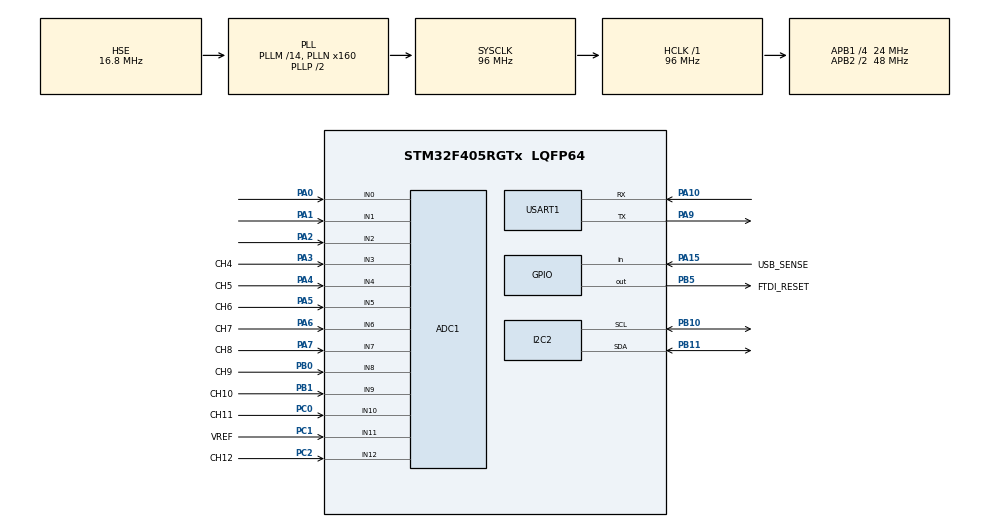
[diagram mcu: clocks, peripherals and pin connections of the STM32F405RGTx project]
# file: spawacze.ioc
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ADC1.Channel-0\#ChannelRegularConversion=ADC_CHANNEL_0
ADC1.ClockPrescaler=ADC_CLOCK_SYNC_PCLK_DIV6
ADC1.DMAAccessMode=ADC_DMAACCESSMODE_2
ADC1.Mode=ADC_DUALMODE_REGSIMULT
ADC1.NbrOfConversion=1
ADC1.NbrOfConversionFlag=1
ADC1.Rank-0\#ChannelRegularConversion=1
ADC1.SamplingTime-0\#ChannelRegularConversion=ADC_SAMPLETIME_3CYCLES
ADC1.ScanConvMode=ENABLE
ADC1.master=1
ADC2.Channel-1\#ChannelRegularConversion=ADC_CHANNEL_0
ADC2.ClockPrescaler=ADC_CLOCK_SYNC_PCLK_DIV6
ADC2.DMAAccessMode=ADC_DMAACCESSMODE_2
ADC2.Mode=ADC_DUALMODE_REGSIMULT
ADC2.NbrOfConversionFlag=1
ADC2.Rank-1\#ChannelRegularConversion=1
ADC2.SamplingTime-1\#ChannelRegularConversion=ADC_SAMPLETIME_3CYCLES
ADC2.ScanConvMode=ENABLE
Dma.ADC1.4.Direction=DMA_PERIPH_TO_MEMORY
Dma.ADC1.4.FIFOMode=DMA_FIFOMODE_DISABLE
Dma.ADC1.4.Instance=DMA2_Stream0
Dma.ADC1.4.MemDataAlignment=DMA_MDATAALIGN_HALFWORD
Dma.ADC1.4.MemInc=DMA_MINC_ENABLE
Dma.ADC1.4.Mode=DMA_NORMAL
Dma.ADC1.4.PeriphDataAlignment=DMA_PDATAALIGN_HALFWORD
Dma.ADC1.4.PeriphInc=DMA_PINC_DISABLE
Dma.ADC1.4.Priority=DMA_PRIORITY_LOW
Dma.ADC2.5.Direction=DMA_PERIPH_TO_MEMORY
Dma.ADC2.5.FIFOMode=DMA_FIFOMODE_DISABLE
Dma.ADC2.5.Instance=DMA2_Stream3
Dma.ADC2.5.MemDataAlignment=DMA_MDATAALIGN_HALFWORD
Dma.ADC2.5.MemInc=DMA_MINC_ENABLE
Dma.ADC2.5.Mode=DMA_NORMAL
Dma.ADC2.5.PeriphDataAlignment=DMA_PDATAALIGN_HALFWORD
Dma.ADC2.5.PeriphInc=DMA_PINC_DISABLE
Dma.ADC2.5.Priority=DMA_PRIORITY_LOW
Dma.I2C2_RX.0.Direction=DMA_PERIPH_TO_MEMORY
Dma.I2C2_RX.0.FIFOMode=DMA_FIFOMODE_DISABLE
Dma.I2C2_RX.0.Instance=DMA1_Stream2
Dma.I2C2_RX.0.MemDataAlignment=DMA_MDATAALIGN_BYTE
Dma.I2C2_RX.0.MemInc=DMA_MINC_ENABLE
Dma.I2C2_RX.0.Mode=DMA_NORMAL
Dma.I2C2_RX.0.PeriphDataAlignment=DMA_PDATAALIGN_BYTE
Dma.I2C2_RX.0.PeriphInc=DMA_PINC_DISABLE
Dma.I2C2_RX.0.Priority=DMA_PRIORITY_LOW
Dma.I2C2_TX.1.Direction=DMA_MEMORY_TO_PERIPH
Dma.I2C2_TX.1.FIFOMode=DMA_FIFOMODE_DISABLE
Dma.I2C2_TX.1.Instance=DMA1_Stream7
Dma.I2C2_TX.1.MemDataAlignment=DMA_MDATAALIGN_BYTE
Dma.I2C2_TX.1.MemInc=DMA_MINC_ENABLE
Dma.I2C2_TX.1.Mode=DMA_NORMAL
Dma.I2C2_TX.1.PeriphDataAlignment=DMA_PDATAALIGN_BYTE
Dma.I2C2_TX.1.PeriphInc=DMA_PINC_DISABLE
Dma.I2C2_TX.1.Priority=DMA_PRIORITY_LOW
Dma.Request0=I2C2_RX
Dma.Request1=I2C2_TX
Dma.Request2=USART1_RX
Dma.Request3=USART1_TX
Dma.Request4=ADC1
Dma.Request5=ADC2
Dma.USART1_RX.2.Direction=DMA_PERIPH_TO_MEMORY
Dma.USART1_RX.2.FIFOMode=DMA_FIFOMODE_DISABLE
Dma.USART1_RX.2.Instance=DMA2_Stream2
Dma.USART1_RX.2.MemDataAlignment=DMA_MDATAALIGN_BYTE
Dma.USART1_RX.2.MemInc=DMA_MINC_ENABLE
Dma.USART1_RX.2.Mode=DMA_NORMAL
Dma.USART1_RX.2.PeriphDataAlignment=DMA_PDATAALIGN_BYTE
Dma.USART1_RX.2.PeriphInc=DMA_PINC_DISABLE
Dma.USART1_RX.2.Priority=DMA_PRIORITY_MEDIUM
Dma.USART1_TX.3.Direction=DMA_MEMORY_TO_PERIPH
Dma.USART1_TX.3.FIFOMode=DMA_FIFOMODE_DISABLE
Dma.USART1_TX.3.Instance=DMA2_Stream7
Dma.USART1_TX.3.MemDataAlignment=DMA_MDATAALIGN_BYTE
Dma.USART1_TX.3.MemInc=DMA_MINC_ENABLE
Dma.USART1_TX.3.Mode=DMA_NORMAL
Dma.USART1_TX.3.PeriphDataAlignment=DMA_PDATAALIGN_BYTE
Dma.USART1_TX.3.PeriphInc=DMA_PINC_DISABLE
Dma.USART1_TX.3.Priority=DMA_PRIORITY_MEDIUM
Mcu.Family=STM32F4
Mcu.Name=STM32F405RGTx
Mcu.Package=LQFP64
NVIC.ADC_IRQn=true\:0\:0\:false\:false\:true\:true\:true
NVIC.DMA1_Stream2_IRQn=true\:0\:0\:false\:false\:true\:false\:true
NVIC.DMA1_Stream7_IRQn=true\:0\:0\:false\:false\:true\:false\:true
NVIC.DMA2_Stream0_IRQn=true\:0\:0\:false\:false\:true\:false\:true
NVIC.DMA2_Stream2_IRQn=true\:0\:0\:false\:false\:true\:false\:true
NVIC.DMA2_Stream3_IRQn=true\:0\:0\:false\:false\:true\:false\:true
NVIC.DMA2_Stream7_IRQn=true\:0\:0\:false\:false\:true\:false\:true
NVIC.I2C2_EV_IRQn=true\:0\:0\:false\:false\:true\:true\:true
NVIC.PriorityGroup=NVIC_PRIORITYGROUP_4
NVIC.USART1_IRQn=true\:0\:0\:false\:false\:true\:true\:true
PA0-WKUP.Signal=ADCx_IN0
PA1.Signal=ADCx_IN1
PA10.Mode=Asynchronous
PA10.Signal=USART1_RX
PA13.Mode=Serial_Wire
PA13.Signal=SYS_JTMS-SWDIO
PA14.Mode=Serial_Wire
PA14.Signal=SYS_JTCK-SWCLK
PA15.GPIO_Label=USB_SENSE
PA15.Signal=GPIO_Input
PA2.Signal=ADCx_IN2
PA3.GPIO_Label=CH4
PA3.Signal=ADCx_IN3
PA4.GPIO_Label=CH5
PA4.Signal=ADCx_IN4
PA5.GPIO_Label=CH6
PA5.Signal=ADCx_IN5
PA6.GPIO_Label=CH7
PA6.Signal=ADCx_IN6
PA7.GPIO_Label=CH8
PA7.Signal=ADCx_IN7
PA9.Mode=Asynchronous
PA9.Signal=USART1_TX
PB0.GPIO_Label=CH9
PB0.Signal=ADCx_IN8
PB1.GPIO_Label=CH10
PB1.Signal=ADCx_IN9
PB10.Mode=I2C
PB10.Signal=I2C2_SCL
PB11.Mode=I2C
PB11.Signal=I2C2_SDA
PB5.GPIO_Label=FTDI_RESET
PB5.GPIO_PuPd=GPIO_NOPULL
PB5.Signal=GPIO_Output
PC0.GPIO_Label=CH11
PC0.Signal=ADCx_IN10
PC1.GPIO_Label=VREF
PC1.Signal=ADCx_IN11
PC2.GPIO_Label=CH12
PC2.Signal=ADCx_IN12
PH0-OSC_IN.Mode=HSE-External-Clock-Source
PH0-OSC_IN.Signal=RCC_OSC_IN
PH1-OSC_OUT.Mode=HSE-External-Clock-Source
PH1-OSC_OUT.Signal=RCC_OSC_OUT
ProjectManager.HeapSize=0x200
ProjectManager.StackSize=0x400
ProjectManager.TargetToolchain=SW4STM32
RCC.48MHZClocksFreq_Value=48000000
RCC.AHBFreq_Value=96000000
RCC.APB1CLKDivider=RCC_HCLK_DIV4
RCC.APB1Freq_Value=24000000
RCC.APB1TimFreq_Value=48000000
RCC.APB2CLKDivider=RCC_HCLK_DIV2
RCC.APB2Freq_Value=48000000
RCC.APB2TimFreq_Value=96000000
RCC.CortexFreq_Value=96000000
RCC.EnbaleCSS=true
RCC.HCLKFreq_Value=96000000
RCC.HSE_VALUE=16800000
RCC.HSI_VALUE=16000000
RCC.LSE_VALUE=32768
RCC.PLLM=14
RCC.PLLN=160
RCC.PLLSourceVirtual=RCC_PLLSOURCE_HSE
RCC.SYSCLKFreq_VALUE=96000000
RCC.SYSCLKSource=RCC_SYSCLKSOURCE_PLLCLK
RCC.VCOOutputFreq_Value=192000000
SH.ADCx_IN0.0=ADC1_IN0,IN0
SH.ADCx_IN0.1=ADC2_IN0,IN0
SH.ADCx_IN1.0=ADC1_IN1,IN1
SH.ADCx_IN1.1=ADC2_IN1,IN1
SH.ADCx_IN10.0=ADC1_IN10,IN10
SH.ADCx_IN10.1=ADC2_IN10,IN10
SH.ADCx_IN11.0=ADC1_IN11,IN11
SH.ADCx_IN11.1=ADC2_IN11,IN11
SH.ADCx_IN12.0=ADC1_IN12,IN12
SH.ADCx_IN12.1=ADC2_IN12,IN12
SH.ADCx_IN2.0=ADC1_IN2,IN2
SH.ADCx_IN2.1=ADC2_IN2,IN2
SH.ADCx_IN3.0=ADC1_IN3,IN3
SH.ADCx_IN3.1=ADC2_IN3,IN3
SH.ADCx_IN4.0=ADC1_IN4,IN4
SH.ADCx_IN4.1=ADC2_IN4,IN4
SH.ADCx_IN5.0=ADC1_IN5,IN5
SH.ADCx_IN5.1=ADC2_IN5,IN5
SH.ADCx_IN6.0=ADC1_IN6,IN6
SH.ADCx_IN6.1=ADC2_IN6,IN6
SH.ADCx_IN7.0=ADC1_IN7,IN7
SH.ADCx_IN7.1=ADC2_IN7,IN7
SH.ADCx_IN8.0=ADC1_IN8,IN8
SH.ADCx_IN8.1=ADC2_IN8,IN8
SH.ADCx_IN9.0=ADC1_IN9,IN9
SH.ADCx_IN9.1=ADC2_IN9,IN9
USART1.VirtualMode=VM_ASYNC
VP_ADC1_TempSens_Input.Mode=IN-TempSens
board=custom

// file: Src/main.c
/* USER CODE BEGIN Header */
/**
  ******************************************************************************
  * @file           : main.c
  * @brief          : Main program body
  ******************************************************************************
  * @attention
  *
  * <h2><center>&copy; Copyright (c) 2019 STMicroelectronics.
  * All rights reserved.</center></h2>
  *
  * This software component is licensed by ST under BSD 3-Clause license,
  * the "License"; You may not use this file except in compliance with the
  * License. You may obtain a copy of the License at:
  *                        opensource.org/licenses/BSD-3-Clause
  *
  ******************************************************************************
  */
/* USER CODE END Header */

#include "main.h"
#include "adc.h"
#include "dma.h"
#include "i2c.h"
#include "usart.h"
#include "gpio.h"

/* USER CODE BEGIN Includes */
#include "MCP4661.h"
/* USER CODE END Includes */

/* USER CODE BEGIN PV */
#define POT1_ADDR  0x50
/* USER CODE END PV */

void SystemClock_Config(void);

/* USER CODE BEGIN 0 */
void POT_SetValue(uint8_t val)
{
	uint8_t cmd[2];
	cmd[0] = 0;
	cmd[1] = val;
	HAL_I2C_Master_Transmit(&hi2c2,POT1_ADDR,cmd,2,100);

}

uint16_t POT_GetValue(uint8_t reg)
{
	uint8_t cmd;
	uint8_t tmp[2];

	cmd = ((reg&0x0F)<<4)|0x0C;

	HAL_I2C_Master_Transmit(&hi2c2,POT1_ADDR,&cmd,1,100);
	//HAL_I2C_Master_Receive(&hi2c2,POT1_ADDR,tmp,2,100);
	HAL_I2C_Mem_Read(&hi2c2,POT1_ADDR,cmd,I2C_MEMADD_SIZE_8BIT,tmp,2,100);
	return (tmp[1]<<8)|tmp[0];
}

/* USER CODE END 0 */

int main(void)
{

  /* MCU Configuration--------------------------------------------------------*/

  /* Reset of all peripherals, Initializes the Flash interface and the Systick. */
  HAL_Init();

  /* Configure the system clock */
  SystemClock_Config();

  /* Initialize all configured peripherals */
  MX_GPIO_Init();
  MX_DMA_Init();
  MX_ADC1_Init();
  MX_ADC2_Init();
  MX_I2C2_Init();
  MX_USART1_UART_Init();
  /* USER CODE BEGIN 2 */
  HAL_GPIO_WritePin(GPIOB,GPIO_PIN_5,GPIO_PIN_RESET);
  HAL_Delay(100);
  HAL_GPIO_WritePin(GPIOB,GPIO_PIN_5,GPIO_PIN_SET);
  /* USER CODE END 2 */

  /* Infinite loop */
  /* USER CODE BEGIN WHILE */
  uint8_t testdata=123;
  MCP4661_SetResistance(1,50.0,0);
  MCP4661_SetResistance(1,82.0,1);

  while (1)
  {
    /* USER CODE END WHILE */

    /* USER CODE BEGIN 3 */
	  HAL_UART_Transmit(&huart1,&testdata,sizeof(testdata),1);
	  //HAL_I2C_Master_Transmit(&hi2c2,(POT1_ADDR << 1)|1,0x05,1,1);

	  HAL_Delay(100);

  }
  /* USER CODE END 3 */
}

void SystemClock_Config(void)
{
  RCC_OscInitTypeDef RCC_OscInitStruct = {0};
  RCC_ClkInitTypeDef RCC_ClkInitStruct = {0};

  /** Configure the main internal regulator output voltage
  */
  __HAL_RCC_PWR_CLK_ENABLE();
  __HAL_PWR_VOLTAGESCALING_CONFIG(PWR_REGULATOR_VOLTAGE_SCALE1);
  /** Initializes the CPU, AHB and APB busses clocks
  */
  RCC_OscInitStruct.OscillatorType = RCC_OSCILLATORTYPE_HSE;
  RCC_OscInitStruct.HSEState = RCC_HSE_BYPASS;
  RCC_OscInitStruct.PLL.PLLState = RCC_PLL_ON;
  RCC_OscInitStruct.PLL.PLLSource = RCC_PLLSOURCE_HSE;
  RCC_OscInitStruct.PLL.PLLM = 14;
  RCC_OscInitStruct.PLL.PLLN = 160;
  RCC_OscInitStruct.PLL.PLLP = RCC_PLLP_DIV2;
  RCC_OscInitStruct.PLL.PLLQ = 4;
  if (HAL_RCC_OscConfig(&RCC_OscInitStruct) != HAL_OK)
  {
    Error_Handler();
  }
  /** Initializes the CPU, AHB and APB busses clocks
  */
  RCC_ClkInitStruct.ClockType = RCC_CLOCKTYPE_HCLK|RCC_CLOCKTYPE_SYSCLK
                              |RCC_CLOCKTYPE_PCLK1|RCC_CLOCKTYPE_PCLK2;
  RCC_ClkInitStruct.SYSCLKSource = RCC_SYSCLKSOURCE_PLLCLK;
  RCC_ClkInitStruct.AHBCLKDivider = RCC_SYSCLK_DIV1;
  RCC_ClkInitStruct.APB1CLKDivider = RCC_HCLK_DIV4;
  RCC_ClkInitStruct.APB2CLKDivider = RCC_HCLK_DIV2;

  if (HAL_RCC_ClockConfig(&RCC_ClkInitStruct, FLASH_LATENCY_3) != HAL_OK)
  {
    Error_Handler();
  }
  /** Enables the Clock Security System
  */
  HAL_RCC_EnableCSS();
}

void Error_Handler(void)
{
}

/************************ (C) COPYRIGHT STMicroelectronics *****END OF FILE****/
